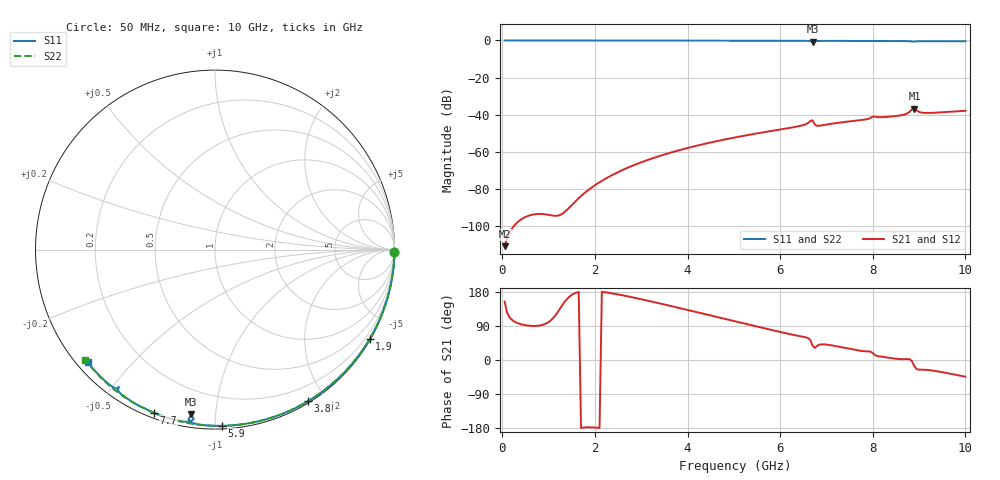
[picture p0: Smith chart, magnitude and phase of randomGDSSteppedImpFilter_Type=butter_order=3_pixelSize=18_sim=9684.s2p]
! freq	dB(S11)	phase(S11)	dB(S12)	phase(S12)
!  dB(S21)	phase(S21)	dB(S22)	phase(S22)
!S-par simulation data
#  GHz  S  DB  R 50
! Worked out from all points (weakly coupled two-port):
!   200 points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, 50 MHz to 10 GHz, reference 50 ohm
!   highest |S21| = -36.69 dB at 8.9 GHz (marker M1); lowest = -110.6 dB at 50 MHz (marker M2)
!   lowest |S11| = -0.6 dB at 6.7 GHz (marker M3), VSWR 26.78, Z = 3.26 - j43.2 ohm
!   |S11| at or under -10 dB: nowhere
!   |S22| runs from -0.5 to 0.0 dB; largest |S21 - S12| = 0
!   S11 on the Smith chart (normalised r, x): 50 MHz: open; 1.9 GHz: 0.03, -3.73; 3.8 GHz: 0.02, -1.79; 5.9 GHz: 0.02, -1.04; 7.7 GHz: 0.02, -0.69; 10 GHz: 0.03, -0.38
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0.05  -0.00 -0.8  -110.65 154.2  -110.65 154.2  -0.00 -0.8
1.75  -0.04 -27.7  -82.61 -178.3  -82.61 -178.3  -0.04 -27.8
1.9  -0.04 -30.0  -79.65 -177.6  -79.65 -177.6  -0.04 -30.1
2.2  -0.04 -34.6  -74.76 179.1  -74.76 179.1  -0.04 -34.8
2.55  -0.05 -39.9  -70.21 171.8  -70.21 171.8  -0.05 -40.1
3.4  -0.07 -52.6  -62.11 149.3  -62.11 149.3  -0.07 -52.9
3.8  -0.08 -58.5  -59.17 137.9  -59.17 137.9  -0.08 -58.7
5.05  -0.12 -76.1  -52.04 101.4  -52.04 101.4  -0.12 -76.5
5.9  -0.15 -87.7  -48.31 76.8  -48.31 76.8  -0.15 -88.0
6.45  -0.19 -95.3  -45.85 62.2  -45.85 62.2  -0.18 -95.2
6.7  -0.65 -98.2  -42.96 37.6  -42.96 37.6  -0.19 -98.5
6.75  -0.44 -97.1  -45.27 31.9  -45.27 31.9  -0.19 -99.1
6.8  -0.29 -98.1  -45.97 37.7  -45.97 37.7  -0.20 -99.8
7.7  -0.26 -110.5  -42.94 25.0  -42.94 25.0  -0.26 -111.2
7.9  -0.28 -113.0  -42.21 22.5  -42.21 22.5  -0.27 -113.7
8  -0.28 -114.2  -40.93 18.3  -40.93 18.3  -0.29 -114.9
8.35  -0.31 -118.6  -41.01 5.8  -41.01 5.8  -0.30 -119.3
8.7  -0.36 -123.3  -39.72 2.2  -39.72 2.2  -0.34 -123.6
8.9  -0.58 -124.8  -36.69 -17.0  -36.69 -17.0  -0.35 -126.0
9  -0.44 -125.7  -38.43 -25.4  -38.43 -25.4  -0.36 -127.3
9.1  -0.40 -127.1  -38.95 -25.6  -38.95 -25.6  -0.37 -128.5
10  -0.48 -138.4  -37.81 -44.1  -37.81 -44.1  -0.47 -139.6
